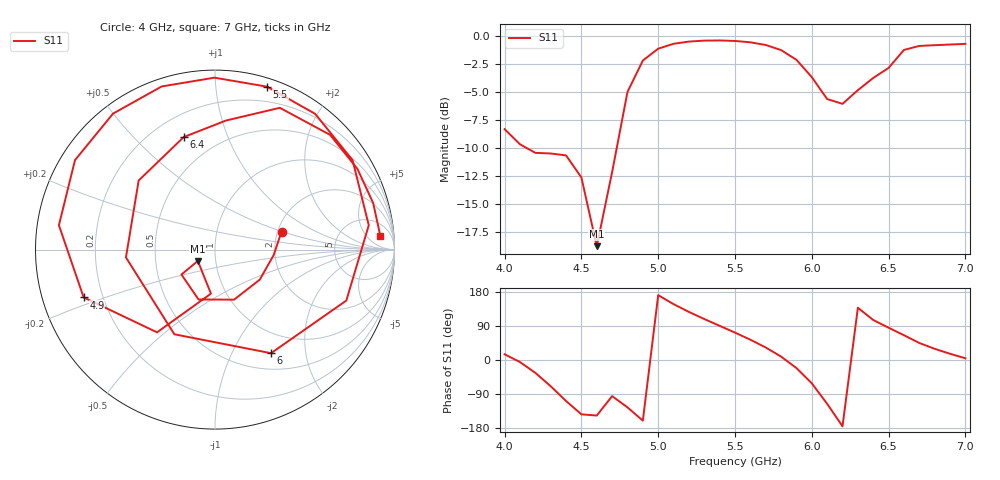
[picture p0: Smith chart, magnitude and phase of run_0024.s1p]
! Touchstone file exported from HFSS 2024.2.0
!  File:  C:/Users/wsak9/Desktop/Sim Fast/Widenad Patch/WP_AI_V1_sweep.aedt
!  Generated:  03:45:04 PM Oct 13, 2026
!  Design:  A1_model
!  Project:  WP_AI_V1_sweep
!  Setup:  Setup1
!  Solution:  Sweep
! Variables:
!  Air_gap = 4.56mm
!  Curve_Amp1 = 3.32
!  Curve_len1 = 1
!  Curve_pos = 13.34mm
!  Extra = 7.46mm
!  H_sub = 0.79mm
!  L_Patch = 22.68mm
!  L_Patch1 = 18.67mm
!  Sx = 4.41mm
!  Sy = 0.47mm
!  WS = 1.28mm
!  W_Patch = 20.01mm
!  W_Patch1 = 11.21mm
!Data is not renormalized
# GHz S MA
! Terminal data exported
! Port[1] = 1
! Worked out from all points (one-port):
!   31 points, 4 GHz to 7 GHz, reference per port
!   lowest |S11| = -18.8 dB at 4.6 GHz (marker M1), VSWR 1.26
!   |S11| at or under -10 dB: 4.142 GHz to 4.73 GHz (588.3 MHz wide, 13.3 % of centre)
!   S11 on the Smith chart (normalised r, x): 4 GHz: 2.10, +0.49; 4.9 GHz: 0.13, -0.17; 5.5 GHz: 0.07, +1.37; 6 GHz: 0.71, -1.43; 6.4 GHz: 0.33, +0.71; 7 GHz: 13, +13
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4  0.3837 15.0
4.2  0.3004 -33.8
4.3  0.2984 -69.1
4.4  0.2926 -108.2
4.5  0.233 -143.4
4.6  0.1147 -146.6
4.7  0.2464 -95.3
4.8  0.5629 -125.0
4.9  0.7788 -160.0
5  0.8802 171.1
5.1  0.9257 147.4
5.2  0.947 126.9
5.3  0.9562 108.1
5.4  0.9579 90.2
5.5  0.953 72.3
5.6  0.9399 53.6
5.7  0.9143 33.0
5.8  0.8674 9.0
5.9  0.7848 -21.2
6  0.6562 -61.6
6.1  0.5233 -115.6
6.2  0.4981 -175.0
6.3  0.5736 137.9
6.4  0.6507 105.6
6.6  0.8687 65.4
6.7  0.9055 44.9
6.8  0.9122 29.5
7  0.9248 4.6
